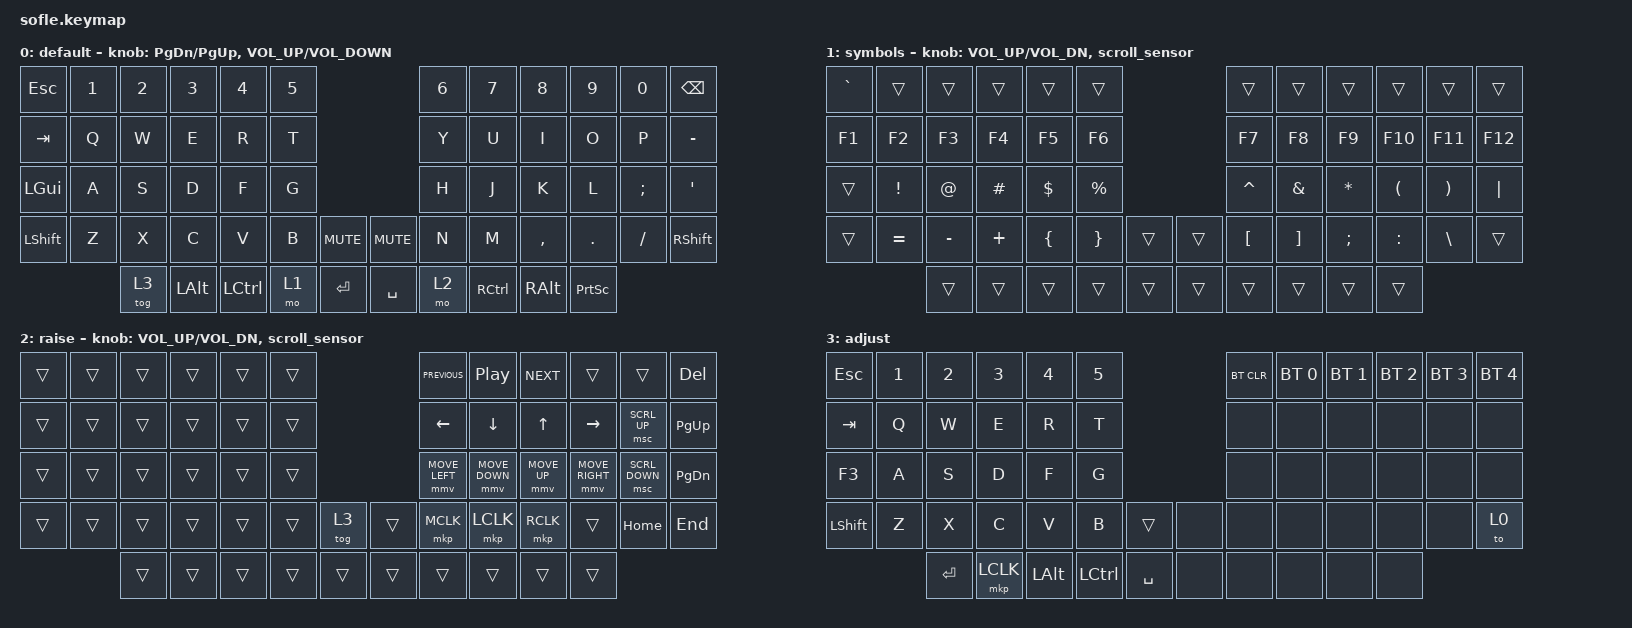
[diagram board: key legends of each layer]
/*
 * Copyright (c) 2020 The ZMK Contributors
 *
 * SPDX-License-Identifier: MIT
 */

#include <behaviors.dtsi>
#include <dt-bindings/zmk/bt.h>
#include <dt-bindings/zmk/keys.h>
#include <dt-bindings/zmk/pointing.h>

#define BASE 0
#define LOWER 1
#define RAISE 2
#define ADJUST 3

/ {
    // Activate ADJUST layer by pressing raise and lower

    conditional_layers { compatible = "zmk,conditional-layers"; };

    behaviors {
        scroll_sensor: scroll_sensor {
            compatible = "zmk,behavior-sensor-rotate";
            label = "SCROLL_SENSOR";
            #sensor-binding-cells = <0>;
            bindings = <&msc SCRL_DOWN>, <&msc SCRL_UP>;

            tap-ms = <100>;
        };
    };

    keymap {
        compatible = "zmk,keymap";

        default_layer {
            display-name = "default";

            // ------------------------------------------------------------------------------------------------------------
            // |   `   |  1  |  2  |  3   |  4   |  5   |                   |  6   |  7    |  8    |  9   |   0   |       |
            // |  ESC  |  Q  |  W  |  E   |  R   |  T   |                   |  Y   |  U    |  I    |  O   |   P   | BKSPC |
            // |  TAB  |  A  |  S  |  D   |  F   |  G   |                   |  H   |  J    |  K    |  L   |   ;   |   '   |
            // | SHIFT |  Z  |  X  |  C   |  V   |  B   |  MUTE  |  |       |  N   |  M    |  ,    |  .   |   /   | SHIFT |
            //               | GUI | ALT  | CTRL | LOWER|  ENTER |  | SPACE | RAISE| CTRL  | ALT   | GUI  |

            bindings = <
&kp ESCAPE    &kp N1  &kp N2  &kp N3    &kp N4     &kp N5                            &kp N6  &kp N7     &kp N8     &kp N9           &kp N0    &kp BACKSPACE
&kp TAB       &kp Q   &kp W   &kp E     &kp R      &kp T                             &kp Y   &kp U      &kp I      &kp O            &kp P     &kp MINUS
&kp LEFT_GUI  &kp A   &kp S   &kp D     &kp F      &kp G                             &kp H   &kp J      &kp K      &kp L            &kp SEMI  &kp SQT
&kp LSHFT     &kp Z   &kp X   &kp C     &kp V      &kp B   &kp C_MUTE    &kp C_MUTE  &kp N   &kp M      &kp COMMA  &kp DOT          &kp FSLH  &kp RSHFT
                      &tog 3  &kp LALT  &kp LCTRL  &mo 1   &kp RET       &kp SPACE   &mo 2   &kp RCTRL  &kp RALT   &kp PRINTSCREEN
            >;

            sensor-bindings =
                <&inc_dec_kp PAGE_DOWN PAGE_UP>,
                <&inc_dec_kp C_VOLUME_UP C_VOLUME_DOWN>;
        };

        lower_layer {
            display-name = "symbols";

            // TODO: Some binds are waiting for shifted keycode support.
            // ------------------------------------------------------------------------------------------------------------
            // |       |  F1 |  F2 |  F3  |  F4  |  F5  |                   |  F6  |  F7   |  F8   |  F9  |  F10  |  F11  |
            // |   `   |  1  |  2  |  3   |  4   |  5   |                   |  6   |  7    |  8    |  9   |   0   |  F12  |
            // |       |  !  |  @  |  #   |  $   |  %   |                   |  ^   |  &    |  *    |  (   |   )   |   |   |
            // |       |  =  |  -  |  +   |  {   |  }   |        |  |       |  [   |  ]    |  ;    |  :   |   \   |       |
            //               |     |      |      |      |        |  |       |      |       |       |      |

            bindings = <
&kp GRAVE  &trans     &trans     &trans    &trans    &trans                       &trans     &trans    &trans     &trans     &trans    &trans
&kp F1     &kp F2     &kp F3     &kp F4    &kp F5    &kp F6                       &kp F7     &kp F8    &kp F9     &kp F10    &kp F11   &kp F12
&trans     &kp EXCL   &kp AT     &kp HASH  &kp DLLR  &kp PRCNT                    &kp CARET  &kp AMPS  &kp ASTRK  &kp LPAR   &kp RPAR  &kp PIPE
&trans     &kp EQUAL  &kp MINUS  &kp PLUS  &kp LBRC  &kp RBRC   &trans    &trans  &kp LBKT   &kp RBKT  &kp SEMI   &kp COLON  &kp BSLH  &trans
                      &trans     &trans    &trans    &trans     &trans    &trans  &trans     &trans    &trans     &trans
            >;

            sensor-bindings = <&inc_dec_kp C_VOL_UP C_VOL_DN>, <&scroll_sensor>;
        };

        raise_layer {
            display-name = "raise";

            // ------------------------------------------------------------------------------------------------------------
            // | BTCLR | BT1  | BT2  |  BT3  |  BT4  |  BT5 |                |      |      |       |      |       |       |
            // |       | INS  | PSCR | GUI   |       |      |                | PGUP |      |   ^   |      |       |       |
            // |       | ALT  | CTRL | SHIFT |       | CAPS |                | PGDN |   <- |   v   |  ->  |  DEL  | BKSPC |
            // |       | UNDO | CUT  | COPY  | PASTE |      |      |  |      |      |      |       |      |       |       |
            //                |      |       |       |      |      |  |      |      |      |       |      |

            bindings = <
&trans  &trans  &trans  &trans  &trans  &trans                    &kp K_PREVIOUS  &kp C_PLAY_PAUSE  &kp K_NEXT    &trans           &trans          &kp DELETE
&trans  &trans  &trans  &trans  &trans  &trans                    &kp LEFT        &kp DOWN          &kp UP        &kp RIGHT        &msc SCRL_UP    &kp PAGE_UP
&trans  &trans  &trans  &trans  &trans  &trans                    &mmv MOVE_LEFT  &mmv MOVE_DOWN    &mmv MOVE_UP  &mmv MOVE_RIGHT  &msc SCRL_DOWN  &kp PAGE_DOWN
&trans  &trans  &trans  &trans  &trans  &trans  &tog 3    &trans  &mkp MCLK       &mkp LCLK         &mkp RCLK     &trans           &kp HOME        &kp END
                &trans  &trans  &trans  &trans  &trans    &trans  &trans          &trans            &trans        &trans
            >;

            sensor-bindings = <&inc_dec_kp C_VOL_UP C_VOL_DN>, <&scroll_sensor>;
        };

        adjust_layer {
            // ----------------------------------------------------------------------------------------------------------------------------
            // | BTCLR  |  BT1    |  BT2    |   BT3   |   BT4   |   BT5   |                  |      |      |       |      |       |       |
            // | EXTPWR | RGB_HUD | RGB_HUI | RGB_SAD | RGB_SAI | RGB_EFF |                  |      |      |       |      |       |       |
            // |        | RGB_BRD | RGB_BRI |         |         |         |                  |      |      |       |      |       |       |
            // |        |         |         |         |         |         | RGB_TOG | |      |      |      |       |      |       |       |
            //                    |         |         |         |         |         | |      |      |      |       |      |

            display-name = "adjust";
            bindings = <
&kp ESCAPE      &kp NUMBER_1  &kp NUMBER_2  &kp NUMBER_3  &kp NUMBER_4  &kp NUMBER_5                      &bt BT_CLR  &bt BT_SEL 0  &bt BT_SEL 1  &bt BT_SEL 2  &bt BT_SEL 3  &bt BT_SEL 4
&kp TAB         &kp Q         &kp W         &kp E         &kp R         &kp T                             &none       &none         &none         &none         &none         &none
&kp F3          &kp A         &kp S         &kp D         &kp F         &kp G                             &none       &none         &none         &none         &none         &none
&kp LEFT_SHIFT  &kp Z         &kp X         &kp C         &kp V         &kp B         &trans       &none  &none       &none         &none         &none         &none         &to 0
                              &kp ENTER     &mkp LCLK     &kp LEFT_ALT  &kp LCTRL     &kp SPACE    &none  &none       &none         &none         &none
            >;
        };
    };
};
